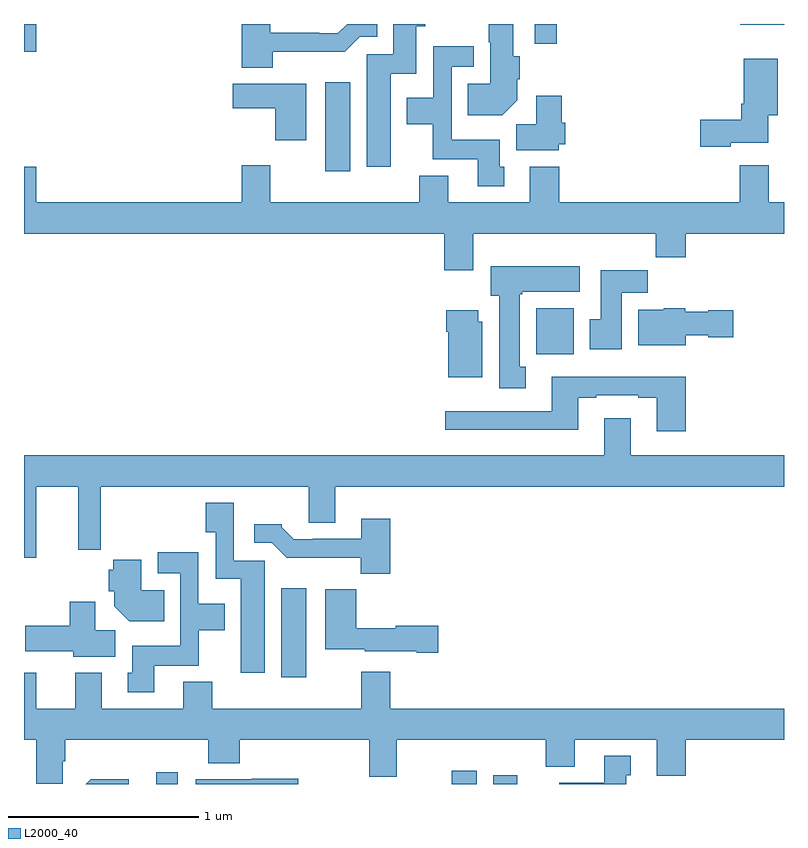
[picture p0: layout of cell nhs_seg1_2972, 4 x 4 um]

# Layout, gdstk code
import gdstk
lib = gdstk.Library(unit=1e-6, precision=1e-09)
def R(c, l, rs):  # rectangles x0, y0, x1, y1
    for r in rs: c.add(gdstk.rectangle(r[:2], r[2:], *l))
def P(c, l, *ps):  # polygons
    for p in ps: c.add(gdstk.Polygon(p, *l))
L2000_40 = (2000, 40)

nhs_seg1_2972 = lib.new_cell('nhs_seg1_2972')
R(nhs_seg1_2972, L2000_40, [(273.695,518.199,273.81,518.26), (275.252,518.199,275.383,518.269), (275.471,518.199,275.596,518.245), (274.355,518.76,274.486,519.229), (275.696,520.46,275.893,520.702), (274.586,521.424,274.717,521.893), (273,522.054,273.064,522.199), (275.688,522.096,275.804,522.199), (276.771,522.195,277,522.199)])
P(nhs_seg1_2972, L2000_40, [(274.31,522.054),(274.689,522.054),(274.767,522.132),(274.858,522.132),(274.858,522.199),(274.701,522.199),(274.652,522.15),(274.553,522.15),(274.553,522.153),(274.297,522.153),(274.297,522.199),(274.145,522.199),(274.145,521.969),(274.31,521.969)],
  [(275.596,521.798),(275.596,521.908),(275.609,521.908),(275.609,522.03),(275.575,522.03),(275.575,522.199),(275.446,522.199),(275.446,522.104),(275.453,522.104),(275.453,521.884),(275.335,521.884),(275.335,521.72),(275.518,521.72)],
  [(274.93,521.936),(275.065,521.936),(275.065,522.187),(275.112,522.187),(275.112,522.199),(274.943,522.199),(274.943,522.039),(274.805,522.039),(274.805,521.448),(274.93,521.448)],
  [(275.527,521.448),(275.503,521.448),(275.503,521.59),(275.25,521.59),(275.25,521.973),(275.368,521.973),(275.368,522.082),(275.154,522.082),(275.154,521.812),(275.015,521.812),(275.015,521.672),(275.152,521.672),(275.152,521.486),(275.387,521.486),(275.387,521.346),(275.527,521.346)],
  [(276.72,521.573),(276.916,521.573),(276.916,521.72),(276.967,521.72),(276.967,522.016),(276.788,522.016),(276.788,521.779),(276.776,521.779),(276.776,521.696),(276.558,521.696),(276.558,521.554),(276.72,521.554)],
  [(274.486,521.884),(274.098,521.884),(274.098,521.755),(274.322,521.755),(274.322,521.586),(274.486,521.586)],
  [(275.814,521.565),(275.849,521.565),(275.849,521.679),(275.831,521.679),(275.831,521.821),(275.696,521.821),(275.696,521.672),(275.591,521.672),(275.591,521.534),(275.814,521.534)],
  [(275.365,521.096),(276.325,521.096),(276.325,520.972),(276.482,520.972),(276.482,521.096),(277,521.096),(277,521.26),(276.919,521.26),(276.919,521.455),(276.767,521.455),(276.767,521.26),(275.816,521.26),(275.816,521.449),(275.663,521.449),(275.663,521.26),(275.233,521.26),(275.233,521.401),(275.081,521.401),(275.081,521.26),(274.297,521.26),(274.297,521.455),(274.145,521.455),(274.145,521.26),(273.064,521.26),(273.064,521.449),(273,521.449),(273,521.096),(275.213,521.096),(275.213,520.902),(275.365,520.902)],
  [(275.641,520.394),(275.608,520.394),(275.608,520.777),(275.622,520.777),(275.622,520.79),(275.926,520.79),(275.926,520.924),(275.456,520.924),(275.456,520.77),(275.501,520.77),(275.501,520.281),(275.641,520.281)],
  [(276.145,520.784),(276.284,520.784),(276.284,520.903),(276.035,520.903),(276.035,520.644),(275.978,520.644),(275.978,520.488),(276.145,520.488)],
  [(276.484,520.562),(276.6,520.562),(276.6,520.55),(276.733,520.55),(276.733,520.692),(276.6,520.692),(276.6,520.684),(276.48,520.684),(276.48,520.702),(276.366,520.702),(276.366,520.696),(276.233,520.696),(276.233,520.508),(276.484,520.508)],
  [(275.413,520.632),(275.392,520.632),(275.392,520.693),(275.222,520.693),(275.222,520.58),(275.234,520.58),(275.234,520.34),(275.413,520.34)],
  [(276.482,520.342),(275.777,520.342),(275.777,520.161),(275.217,520.161),(275.217,520.064),(275.917,520.064),(275.917,520.233),(276.013,520.233),(276.013,520.245),(276.233,520.245),(276.233,520.233),(276.329,520.233),(276.329,520.056),(276.482,520.056)],
  [(273.064,519.764),(273.286,519.764),(273.286,519.432),(273.404,519.432),(273.404,519.764),(274.499,519.764),(274.499,519.574),(274.639,519.574),(274.639,519.764),(277,519.764),(277,519.928),(276.193,519.928),(276.193,520.123),(276.053,520.123),(276.053,519.928),(273,519.928),(273,519.39),(273.064,519.39)],
  [(274.267,519.375),(274.104,519.375),(274.104,519.679),(273.956,519.679),(273.956,519.523),(274.008,519.523),(274.008,519.278),(274.142,519.278),(274.142,518.784),(274.267,518.784)],
  [(274.928,519.595),(274.775,519.595),(274.775,519.489),(274.519,519.489),(274.519,519.486),(274.42,519.486),(274.356,519.55),(274.356,519.565),(274.212,519.565),(274.212,519.468),(274.305,519.468),(274.384,519.39),(274.773,519.39),(274.773,519.305),(274.928,519.305)],
  [(273.685,518.822),(273.921,518.822),(273.921,519.008),(274.057,519.008),(274.057,519.148),(273.918,519.148),(273.918,519.418),(273.705,519.418),(273.705,519.309),(273.822,519.309),(273.822,518.926),(273.569,518.926),(273.569,518.784),(273.545,518.784),(273.545,518.682),(273.685,518.682)],
  [(273.737,519.22),(273.616,519.22),(273.616,519.378),(273.469,519.378),(273.469,519.327),(273.446,519.327),(273.446,519.213),(273.476,519.213),(273.476,519.134),(273.554,519.056),(273.737,519.056)],
  [(275.179,519.032),(274.956,519.032),(274.956,519.019),(274.748,519.019),(274.748,519.223),(274.586,519.223),(274.586,518.909),(274.794,518.909),(274.794,518.897),(275.066,518.897),(275.066,518.89),(275.179,518.89)],
  [(273.481,519.008),(273.376,519.008),(273.376,519.157),(273.242,519.157),(273.242,519.032),(273.006,519.032),(273.006,518.897),(273.258,518.897),(273.258,518.87),(273.481,518.87)],
  [(273.203,518.32),(273.218,518.32),(273.218,518.432),(273.971,518.432),(273.971,518.308),(274.136,518.308),(274.136,518.432),(274.816,518.432),(274.816,518.238),(274.963,518.238),(274.963,518.432),(275.747,518.432),(275.747,518.291),(275.899,518.291),(275.899,518.432),(276.329,518.432),(276.329,518.243),(276.482,518.243),(276.482,518.432),(277,518.432),(277,518.596),(274.928,518.596),(274.928,518.791),(274.775,518.791),(274.775,518.596),(273.992,518.596),(273.992,518.737),(273.839,518.737),(273.839,518.596),(273.409,518.596),(273.409,518.785),(273.269,518.785),(273.269,518.596),(273.064,518.596),(273.064,518.785),(273,518.785),(273,518.432),(273.065,518.432),(273.065,518.2),(273.203,518.2)],
  [(276.169,518.244),(276.193,518.244),(276.193,518.347),(276.053,518.347),(276.053,518.206),(275.818,518.206),(275.818,518.199),(276.169,518.199)],
  [(274.444,518.227),(274.199,518.227),(274.199,518.223),(273.903,518.223),(273.903,518.199),(274.444,518.199)],
  [(273.55,518.225),(273.35,518.225),(273.324,518.199),(273.55,518.199)])

lib.write_gds('nhs_seg1_2972.gds')
